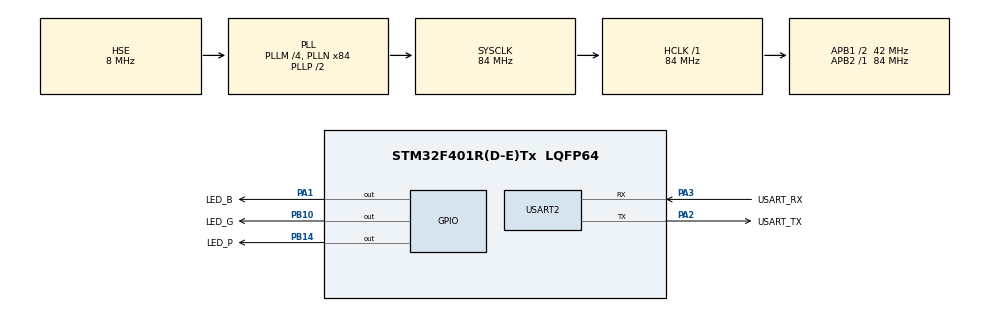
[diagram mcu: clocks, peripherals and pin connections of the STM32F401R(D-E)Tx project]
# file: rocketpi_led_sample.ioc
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Mcu.Family=STM32F4
Mcu.Name=STM32F401R(D-E)Tx
Mcu.Package=LQFP64
NVIC.FPU_IRQn=true\:0\:0\:false\:false\:true\:true\:false\:true
NVIC.PriorityGroup=NVIC_PRIORITYGROUP_4
NVIC.TIM1_UP_TIM10_IRQn=true\:15\:0\:false\:false\:true\:false\:true\:true
NVIC.TimeBase=TIM1_UP_TIM10_IRQn
NVIC.TimeBaseIP=TIM10
PA1.GPIO_Label=LED_B
PA1.Signal=GPIO_Output
PA13.GPIO_Label=TMS
PA13.Mode=Serial_Wire
PA13.Signal=SYS_JTMS-SWDIO
PA14.GPIO_Label=TCK
PA14.Mode=Serial_Wire
PA14.Signal=SYS_JTCK-SWCLK
PA2.GPIO_Label=USART_TX
PA2.GPIO_Mode=GPIO_MODE_AF_PP
PA2.GPIO_PuPd=GPIO_NOPULL
PA2.GPIO_Speed=GPIO_SPEED_FREQ_LOW
PA2.Mode=Asynchronous
PA2.Signal=USART2_TX
PA3.GPIO_Label=USART_RX
PA3.GPIO_Mode=GPIO_MODE_AF_PP
PA3.GPIO_PuPd=GPIO_NOPULL
PA3.GPIO_Speed=GPIO_SPEED_FREQ_LOW
PA3.Mode=Asynchronous
PA3.Signal=USART2_RX
PB10.GPIO_Label=LED_G
PB10.Signal=GPIO_Output
PB14.GPIO_Label=LED_P
PB14.Signal=GPIO_Output
PH0\ -\ OSC_IN.Mode=HSE-External-Oscillator
PH0\ -\ OSC_IN.Signal=RCC_OSC_IN
PH1\ -\ OSC_OUT.Mode=HSE-External-Oscillator
PH1\ -\ OSC_OUT.Signal=RCC_OSC_OUT
ProjectManager.HeapSize=0x800
ProjectManager.StackSize=0x800
ProjectManager.TargetToolchain=MDK-ARM V5.27
RCC.48MHZClocksFreq_Value=24000000
RCC.AHBFreq_Value=84000000
RCC.APB1CLKDivider=RCC_HCLK_DIV2
RCC.APB1Freq_Value=42000000
RCC.APB1TimFreq_Value=84000000
RCC.APB2Freq_Value=84000000
RCC.APB2TimFreq_Value=84000000
RCC.CortexFreq_Value=84000000
RCC.HCLKFreq_Value=84000000
RCC.HSE_VALUE=8000000
RCC.HSI_VALUE=16000000
RCC.LSE_VALUE=32768
RCC.PLLM=4
RCC.PLLN=84
RCC.PLLQ=7
RCC.PLLSourceVirtual=RCC_PLLSOURCE_HSE
RCC.SYSCLKFreq_VALUE=84000000
RCC.SYSCLKSource=RCC_SYSCLKSOURCE_PLLCLK
RCC.VCOOutputFreq_Value=168000000
USART2.VirtualMode=VM_ASYNC
VP_SYS_VS_tim10.Mode=TIM10
board=NUCLEO-F401RE

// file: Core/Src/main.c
/* USER CODE BEGIN Header */
/**
  ******************************************************************************
  * @file           : main.c
  * @brief          : Main program body
  ******************************************************************************
  * @attention
  *
  * Copyright (c) 2025 STMicroelectronics.
  * All rights reserved.
  *
  * This software is licensed under terms that can be found in the LICENSE file
  * in the root directory of this software component.
  * If no LICENSE file comes with this software, it is provided AS-IS.
  *
  ******************************************************************************
  */
/* USER CODE END Header */
#include "main.h"
#include "usart.h"
#include "gpio.h"

/* USER CODE BEGIN Includes */
#include "FreeRTOS.h"
#include "task.h"
/* USER CODE END Includes */

void SystemClock_Config(void);

/* USER CODE BEGIN 0 */

void vTaskFunction1(void *pvParameters)
{
    for(;;)
    {
        HAL_GPIO_TogglePin(LED_P_GPIO_Port, LED_P_Pin);
        vTaskDelay(500);
    }
}

void vTaskFunction2(void *pvParameters)
{
    for(;;)
    {
        HAL_GPIO_TogglePin(LED_G_GPIO_Port, LED_G_Pin);
        vTaskDelay(500);
    }
}

void vTaskFunction3(void *pvParameters)
{
    for(;;)
    {
        HAL_GPIO_TogglePin(LED_B_GPIO_Port, LED_B_Pin);
        vTaskDelay(500);
    }
}

/* USER CODE END 0 */

int main(void)
{

  /* MCU Configuration--------------------------------------------------------*/

  /* Reset of all peripherals, Initializes the Flash interface and the Systick. */
  HAL_Init();

  /* Configure the system clock */
  SystemClock_Config();

  /* Initialize all configured peripherals */
  MX_GPIO_Init();
  MX_USART2_UART_Init();
  /* USER CODE BEGIN 2 */

	 xTaskCreate(
        vTaskFunction1,              /* 任务函数 */
        "Task1",                    /* 任务名称 */
        configMINIMAL_STACK_SIZE,   /* 栈大小 */
        NULL,                       /* 参数 */
        tskIDLE_PRIORITY + 1,       /* 优先级 */
        NULL                        /* 任务句柄（可选） */
    );

		 xTaskCreate(
        vTaskFunction2,              /* 任务函数 */
        "Task2",                    /* 任务名称 */
        configMINIMAL_STACK_SIZE,   /* 栈大小 */
        NULL,                       /* 参数 */
        tskIDLE_PRIORITY + 1,       /* 优先级 */
        NULL                        /* 任务句柄（可选） */
    );

		 xTaskCreate(
        vTaskFunction3,              /* 任务函数 */
        "Task3",                    /* 任务名称 */
        configMINIMAL_STACK_SIZE,   /* 栈大小 */
        NULL,                       /* 参数 */
        tskIDLE_PRIORITY + 1,       /* 优先级 */
        NULL                        /* 任务句柄（可选） */
    );

    /* 启动任务调度器 */
    vTaskStartScheduler();

  /* USER CODE END 2 */

  /* Infinite loop */
  while (1)
  {

  }
}

void SystemClock_Config(void)
{
  RCC_OscInitTypeDef RCC_OscInitStruct = {0};
  RCC_ClkInitTypeDef RCC_ClkInitStruct = {0};

  /** Configure the main internal regulator output voltage
  */
  __HAL_RCC_PWR_CLK_ENABLE();
  __HAL_PWR_VOLTAGESCALING_CONFIG(PWR_REGULATOR_VOLTAGE_SCALE2);

  /** Initializes the RCC Oscillators according to the specified parameters
  * in the RCC_OscInitTypeDef structure.
  */
  RCC_OscInitStruct.OscillatorType = RCC_OSCILLATORTYPE_HSE;
  RCC_OscInitStruct.HSEState = RCC_HSE_ON;
  RCC_OscInitStruct.PLL.PLLState = RCC_PLL_ON;
  RCC_OscInitStruct.PLL.PLLSource = RCC_PLLSOURCE_HSE;
  RCC_OscInitStruct.PLL.PLLM = 4;
  RCC_OscInitStruct.PLL.PLLN = 84;
  RCC_OscInitStruct.PLL.PLLP = RCC_PLLP_DIV2;
  RCC_OscInitStruct.PLL.PLLQ = 7;
  if (HAL_RCC_OscConfig(&RCC_OscInitStruct) != HAL_OK)
  {
    Error_Handler();
  }

  /** Initializes the CPU, AHB and APB buses clocks
  */
  RCC_ClkInitStruct.ClockType = RCC_CLOCKTYPE_HCLK|RCC_CLOCKTYPE_SYSCLK
                              |RCC_CLOCKTYPE_PCLK1|RCC_CLOCKTYPE_PCLK2;
  RCC_ClkInitStruct.SYSCLKSource = RCC_SYSCLKSOURCE_PLLCLK;
  RCC_ClkInitStruct.AHBCLKDivider = RCC_SYSCLK_DIV1;
  RCC_ClkInitStruct.APB1CLKDivider = RCC_HCLK_DIV2;
  RCC_ClkInitStruct.APB2CLKDivider = RCC_HCLK_DIV1;

  if (HAL_RCC_ClockConfig(&RCC_ClkInitStruct, FLASH_LATENCY_2) != HAL_OK)
  {
    Error_Handler();
  }
}

void HAL_TIM_PeriodElapsedCallback(TIM_HandleTypeDef *htim)
{
  if (htim->Instance == TIM10)
  {
    HAL_IncTick();
  }
}

void Error_Handler(void)
{
  __disable_irq();
  while (1)
  {
  }
}
